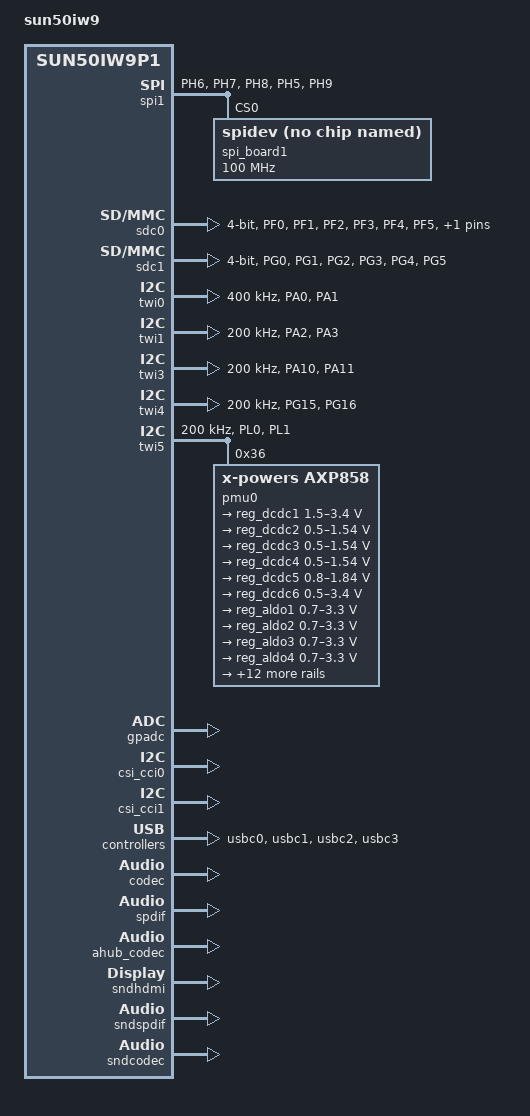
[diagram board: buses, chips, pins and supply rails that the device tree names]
/*
 * Allwinner Technology CO., Ltd. sun8iw19p1 soc board.
 *
 * soc board support.
 */

/dts-v1/;

#include "sun50iw9p1.dtsi"

/{
	model = "sun50iw9";
	compatible = "allwinner,t507", "arm,sun50iw9p1";

	soc@03000000{

		r_pio: pinctrl@07022000 {

			s_twi0_pins_a: s_twi0@0 {
				allwinner,pins = "PL0", "PL1";
				allwinner,pname = "s_twi0_scl", "s_twi0_sda";
				allwinner,function = "s_twi0";
				allwinner,muxsel = <3>;
				allwinner,drive = <0>;
				allwinner,pull = <1>;
			};

			s_twi0_pins_b: s_twi0@1 {
				allwinner,pins = "PL0", "PL1";
				allwinner,function = "io_disabled";
				allwinner,muxsel = <7>;
				allwinner,drive = <0>;
				allwinner,pull = <0>;
			};
		};

		pio: pinctrl@0300b000 {

			spi1_pins_a: spi1@0 {
				allwinner,pins = "PH6", "PH7", "PH8";
				allwinner,pname = "spi1_sclk", "spi1_mosi", "spi1_miso";
				allwinner,function = "spi1";
			};

			spi1_pins_b: spi1@1 {
				allwinner,pins = "PH5", "PH9";
				allwinner,pname = "spi1_cs0", "spi1_cs1";
				allwinner,function = "spi1";
			};

			spi1_pins_c: spi1@2 {
				allwinner,pins = "PH5", "PH6", "PH7", "PH8", "PH9";
				allwinner,function = "io_disabled";
			};

			twi0_pins_a: twi0@0 {
				allwinner,pins = "PA0", "PA1";
				allwinner,pname = "twi0_scl", "twi0_sda";
				allwinner,function = "twi0";
				allwinner,muxsel = <4>;
				allwinner,drive = <0>;
				allwinner,pull = <0>;
			};

			twi0_pins_b: twi0@1 {
				allwinner,pins = "PA0", "PA1";
				allwinner,function = "io_disabled";
				allwinner,muxsel = <7>;
				allwinner,drive = <0>;
				allwinner,pull = <0>;
			};

			twi1_pins_a: twi1@0 {
				allwinner,pins = "PA2", "PA3";
				allwinner,pname = "twi1_scl", "twi1_sda";
				allwinner,function = "twi1";
				allwinner,muxsel = <4>;
				allwinner,drive = <0>;
				allwinner,pull = <0>;
			};

			twi1_pins_b: twi1@1 {
				allwinner,pins = "PA2", "PA3";
				allwinner,function = "io_disabled";
				allwinner,muxsel = <7>;
				allwinner,drive = <0>;
				allwinner,pull = <0>;
			};

			twi2_pins_a: twi2@0 {
				allwinner,pins = "PH2", "PH3";
				allwinner,pname = "twi2_scl", "twi2_sda";
				allwinner,function = "twi2";
				allwinner,muxsel = <5>;
				allwinner,drive = <0>;
				allwinner,pull = <0>;
			};

			twi2_pins_b: twi2@1 {
				allwinner,pins = "PH2", "PH3";
				allwinner,function = "io_disabled";
				allwinner,muxsel = <7>;
				allwinner,drive = <0>;
				allwinner,pull = <0>;
			};

			twi3_pins_a: twi3@0 {
				allwinner,pins = "PA10", "PA11";
				allwinner,pname = "twi3_scl", "twi3_sda";
				allwinner,function = "twi3";
				allwinner,muxsel = <2>;
				allwinner,drive = <0>;
				allwinner,pull = <0>;
			};

			twi3_pins_b: twi3@1 {
				allwinner,pins = "PA10", "PA11";
				allwinner,function = "io_disabled";
				allwinner,muxsel = <7>;
				allwinner,drive = <0>;
				allwinner,pull = <0>;
			};

			twi4_pins_a: twi4@0 {
				allwinner,pins = "PG15", "PG16";
				allwinner,pname = "twi4_scl", "twi4_sda";
				allwinner,function = "twi4";
				allwinner,muxsel = <5>;
				allwinner,drive = <0>;
				allwinner,pull = <0>;
			};

			twi4_pins_b: twi4@1 {
				allwinner,pins = "PG15", "PG16";
				allwinner,function = "io_disabled";
				allwinner,muxsel = <7>;
				allwinner,drive = <0>;
				allwinner,pull = <0>;
			};

			scr0_pins_a: scr0@0 {
				allwinner,pins = "PD17", "PD18", "PD14", "PD15", "PD16";
				allwinner,pname = "scr0_rst", "scr0_det", "scr0_vccen", "scr0_sck", "scr0_sda";
			};

			sdc0_pins_a: sdc0@0 {
				allwinner,pins = "PF0", "PF1", "PF2",
						 "PF3", "PF4", "PF5";
				allwinner,function = "sdc0";
				allwinner,muxsel = <2>;
				allwinner,drive = <3>;
				allwinner,pull = <1>;
			};

			sdc0_pins_c: sdc0@2 {
				allwinner,pins = "PF0", "PF1",
						 "PF3", "PF5";
				allwinner,function = "uart0_jtag";
				allwinner,muxsel = <3>;
				allwinner,drive = <1>;
				allwinner,pull = <1>;
			};

			sdc1_pins_a: sdc1@0 {
				allwinner,pins = "PG0", "PG1", "PG2",
						 "PG3", "PG4", "PG5";
				allwinner,function = "sdc1";
				allwinner,muxsel = <2>;
				allwinner,drive = <3>;
				allwinner,pull = <1>;
			};

			sdc2_pins_a: sdc2@0 {
				allwinner,pins = "PC1", "PC5", "PC6",
						 "PC8", "PC9", "PC10", "PC11",
						 "PC13", "PC14", "PC15", "PC16";
				allwinner,function = "sdc2";
				allwinner,muxsel = <3>;
				allwinner,drive = <2>;
				allwinner,pull = <1>;
			};

			sdc2_pins_b: sdc2@1 {
				allwinner,pins = "PC0", "PC1", "PC5", "PC6",
						 "PC8", "PC9", "PC10", "PC11",
						 "PC13", "PC14", "PC15", "PC16";
				allwinner,function = "io_disabled";
				allwinner,muxsel = <7>;
				allwinner,drive = <1>;
				allwinner,pull = <1>;
			};

			sdc2_pins_c: sdc2@2 {
				allwinner,pins = "PC0";
				allwinner,function = "sdc2";
				allwinner,muxsel = <3>;
				allwinner,drive = <2>;
				allwinner,pull = <2>;
			};
		};

		spi1: spi@05011000 {
			pinctrl-0 = <&spi1_pins_a &spi1_pins_b>;
			pinctrl-1 = <&spi1_pins_c>;
			spi_slave_mode = <0>;
			status = "okay";
			spi_board1 {
				device_type = "spi_board1";
				compatible = "rohm,dh2228fv";
				spi-max-frequency = <0x5f5e100>;
				reg = <0x0>;
				spi-rx-bus-width = <0x1>;
				spi-tx-bus-width = <0x1>;
			};
		};

		sdc2: sdmmc@04022000 {
			pinctrl-0 = <&sdc2_pins_a &sdc2_pins_c>;
			non-removable;
			bus-width = <8>;
			mmc-ddr-1_8v;
			/*mmc-hs200-1_8v;*/
			/*mmc-hs400-1_8v;*/
			no-sdio;
			no-sd;
			cap-mmc-highspeed;
			sunxi-power-save-mode;
			sunxi-dis-signal-vol-sw;
			max-frequency = <50000000>;
			/*max-frequency = <100000000>;*/
			status = "disabled";
		};

		sdc0: sdmmc@04020000 {
			pinctrl-0 = <&sdc0_pins_a>;
			bus-width = <4>;
			cd-gpios = <&pio PF 6 6 1 3 0xffffffff>;
			/*non-removable;*/
			/*broken-cd;*/
			/*cd-inverted*/
			/*data3-detect;*/
			cap-sd-highspeed;
			/*sd-uhs-sdr50;*/
			/*sd-uhs-ddr50;*/
			/*sd-uhs-sdr104;*/
			no-sdio;
			no-mmc;
			sunxi-power-save-mode;
			/*sunxi-dis-signal-vol-sw;*/
			max-frequency = <50000000>;
			ctl-spec-caps = <0x8>;
			status = "okay";
		};

		sdc1: sdmmc@04021000 {
			pinctrl-0 = <&sdc1_pins_a>;
			bus-width = <4>;
			no-mmc;
			no-sd;
			cap-sd-highspeed;
			/*sd-uhs-sdr12*/
			/*sd-uhs-sdr25*/
			/*sd-uhs-sdr50*/
			/*sd-uhs-ddr50;*/
			/*sd-uhs-sdr104*/
			/*sunxi-power-save-mode;*/
			/*sunxi-dis-signal-vol-sw;*/
			cap-sdio-irq;
			keep-power-in-suspend;
			ignore-pm-notify;
			max-frequency = <50000000>;
			ctl-spec-caps = <0x8>;
			status = "okay";
		};

		twi0: twi@0x05002000{
			clock-frequency = <400000>;
			pinctrl-0 = <&twi0_pins_a>;
			pinctrl-1 = <&twi0_pins_b>;
			status = "okay";
		};

		twi1: twi@0x05002400{
			clock-frequency = <200000>;
			pinctrl-0 = <&twi1_pins_a>;
			pinctrl-1 = <&twi1_pins_b>;
			status = "okay";
		};

		twi2: twi@0x05002800{
			clock-frequency = <200000>;
			pinctrl-0 = <&twi2_pins_a>;
			pinctrl-1 = <&twi2_pins_b>;
			status = "disabled";
		};

		twi3: twi@0x05002c00{
			clock-frequency = <200000>;
			pinctrl-0 = <&twi3_pins_a>;
			pinctrl-1 = <&twi3_pins_b>;
			status = "okay";
		};

		twi4: twi@0x05003000{
			clock-frequency = <200000>;
			pinctrl-0 = <&twi4_pins_a>;
			pinctrl-1 = <&twi4_pins_b>;
			status = "okay";
		};

		twi5: twi@0x07081400{
			clock-frequency = <200000>;
			pinctrl-0 = <&s_twi0_pins_a>;
			pinctrl-1 = <&s_twi0_pins_b>;
			status = "okay";
		};

		/*----------------------------------------------------------------------------------
		*resistance gpadc configuration
		*channel_num:   Maxinum number of channels supported on the platform.
		*channel_select:   channel enable setection. channel0:0x01  channel1:0x02 channel2:0x04 channel3:0x08
		*channel_data_select:  channel data enable.  channel0:0x01  channel1:0x02 channel2:0x04 channel3:0x08.
		*channel_compare_select:   compare function enable channel0:0x01  channel1:0x02 channel2:0x04 channel3:0x08.
		*channel_cld_select:  compare function low data enable setection: channel0:0x01  channel1:0x02 channel2:0x04 channel3:0x08.
		*channel_chd_select:  compare function hig data enable setection: channel0:0x01  channel1:0x02 channel2:0x04 channel3:0x08.
		*----------------------------------------------------------------------------------*/
		gpadc:gpadc{
			channel_num = <1>;
			channel_select = <0x01>;
			channel_data_select = <0>;
			channel_compare_select = <0x01>;
			channel_cld_select = <0x01>;
			channel_chd_select = <0>;
			channel0_compare_lowdata = <1700000>;
			channel0_compare_higdata = <1200000>;
			key_cnt = <5>;
			key0_vol = <115>;
			key0_val = <115>;
			key1_vol = <240>;
			key1_val = <114>;
			key2_vol = <360>;
			key2_val = <139>;
			key3_vol = <480>;
			key3_val = <28>;
			key4_vol = <600>;
			key4_val = <102>;
			status = "okay";
		};

		vind0:vind@0 {
			vind0_clk = <324000000>;
			status = "okay";

			csi_cci0:cci@0 {
				status = "okay";
			};
			csi_cci1:cci@1 {
				status = "okay";
			};
			actuator0:actuator@0 {
				device_type = "actuator0";
				actuator0_name = "ad5820_act";
				actuator0_slave = <0x18>;
				actuator0_af_pwdn = <>;
				actuator0_afvdd = "afvcc-csi";
				actuator0_afvdd_vol = <2800000>;
				status = "disabled";
			};
			flash0:flash@0 {
				device_type = "flash0";
				flash0_type = <2>;
				flash0_en = <>;
				flash0_mode = <>;
				flash0_flvdd = "";
				flash0_flvdd_vol = <>;
				device_id = <0>;
				status = "disabled";
			};
			sensor0:sensor@0 {
				device_type = "sensor0";
				sensor0_mname = "nvp6324_mipi";
				sensor0_twi_cci_id = <0>;
				sensor0_twi_addr = <0x60>;
				sensor0_mclk_id = <0>;
				sensor0_pos = "rear";
				sensor0_isp_used = <0>;
				sensor0_fmt = <0>;
				sensor0_stby_mode = <0>;
				sensor0_vflip = <0>;
				sensor0_hflip = <0>;
				sensor0_iovdd-supply = <>;
				sensor0_iovdd_vol = <1800000>;
				sensor0_avdd-supply = <>;
				sensor0_avdd_vol = <2800000>;
				sensor0_dvdd-supply = <>;
				sensor0_dvdd_vol = <1200000>;
				sensor0_power_en = <>;
				sensor0_reset = <&pio PH 2 1 0 1 0>;
				sensor0_pwdn = <&pio PH 3 1 0 1 0>;
				sensor0_sm_vs = <&pio PE 22 1 0 1 0>;
				status	= "okay";
			};
			sensor1:sensor@1 {
				device_type = "sensor1";
				sensor1_mname = "ov5640";
				sensor1_twi_cci_id = <1>;
				sensor1_twi_addr = <0x78>;
				sensor1_mclk_id = <1>;
				sensor1_pos = "front";
				sensor1_isp_used = <0>;
				sensor1_fmt = <0>;
				sensor1_stby_mode = <0>;
				sensor1_vflip = <0>;
				sensor1_hflip = <0>;
				sensor1_iovdd-supply = <>;
				sensor1_iovdd_vol = <2800000>;
				sensor1_avdd-supply = <>;
				sensor1_avdd_vol = <2800000>;
				sensor1_dvdd-supply = <>;
				sensor1_dvdd_vol = <1200000>;
				sensor1_power_en = <>;
				sensor1_reset = <&pio PA 2 1 0 1 0>;
				sensor1_pwdn = <&pio PA 3 1 0 1 0>;
				sensor1_sm_vs = <>;
				status	= "okay";
			};
			vinc0:vinc@0 {
				vinc0_csi_sel = <0>;
				vinc0_mipi_sel = <0>;
				vinc0_isp_sel = <0>;
				vinc0_isp_tx_ch = <0>;
				vinc0_rear_sensor_sel = <0>;
				vinc0_front_sensor_sel = <0>;
				vinc0_sensor_list = <0>;
				status = "okay";
			};
			vinc1:vinc@1 {
				vinc1_csi_sel = <0>;
				vinc1_mipi_sel = <0>;
				vinc1_isp_sel = <0>;
				vinc1_isp_tx_ch = <1>;
				vinc1_rear_sensor_sel = <0>;
				vinc1_front_sensor_sel = <0>;
				vinc1_sensor_list = <0>;
				status = "okay";
			};
			vinc2:vinc@2 {
				vinc2_csi_sel = <0>;
				vinc2_mipi_sel = <0>;
				vinc2_isp_sel = <0>;
				vinc2_isp_tx_ch = <2>;
				vinc2_rear_sensor_sel = <0>;
				vinc2_front_sensor_sel = <0>;
				vinc2_sensor_list = <0>;
				status = "okay";
			};
			vinc3:vinc@3 {
				vinc3_csi_sel = <0>;
				vinc3_mipi_sel = <0>;
				vinc3_isp_sel = <0>;
				vinc3_isp_tx_ch = <3>;
				vinc3_rear_sensor_sel = <0>;
				vinc3_front_sensor_sel = <0>;
				vinc3_sensor_list = <0>;
				status = "okay";
			};
			vinc4:vinc@4 {
				vinc4_csi_sel = <1>;
				vinc4_mipi_sel = <0xff>;
				vinc4_isp_sel = <1>;
				vinc4_isp_tx_ch = <0>;
				vinc4_rear_sensor_sel = <1>;
				vinc4_front_sensor_sel = <1>;
				vinc4_sensor_list = <0>;
				status = "okay";
			};
			vinc5:vinc@5 {
				vinc5_csi_sel = <1>;
				vinc5_mipi_sel = <0xff>;
				vinc5_isp_sel = <1>;
				vinc5_isp_tx_ch = <0>;
				vinc5_rear_sensor_sel = <1>;
				vinc5_front_sensor_sel = <1>;
				vinc5_sensor_list = <0>;
				status = "okay";
			};
		};

		usbc0:usbc0@0 {
			device_type		= "usbc0";
			usb_port_type		= <0x2>;
			usb_detect_type		= <0x1>;
			usb_detect_mode		= <0x0>;
			usb_id_gpio		= <&pio PH 6 0 1 0xffffffff 0xffffffff>;
			usb_det_vbus_gpio	= <&pio PH 7 0 1 0xffffffff 0xffffffff>;
			usb_drv_vbus_gpio;
			usb_host_init_state	= <0x1>;
			usb_regulator_io	= "nocare";
			usb_wakeup_suspend	= <0x0>;
			usb_luns		= <0x3>;
			usb_serial_unique	= <0x0>;
			usb_serial_number	= "20080411";
			status			= "okay";
		};

		usbc1:usbc1@0 {
			device_type		= "usbc1";
			usb_drv_vbus_gpio	= <&pio PH 8 0 1 0xffffffff 0xffffffff>;
			usb_host_init_state	= <0x1>;
			usb_regulator_io	= "nocare";
			usb_wakeup_suspend	= <0x0>;
			status			= "okay";
		};

		usbc2:usbc2@0 {
			device_type		= "usbc2";
			usb_drv_vbus_gpio;
			usb_host_init_state	= <0x1>;
			usb_regulator_io	= "nocare";
			usb_wakeup_suspend	= <0x0>;
			status			= "okay";
		};

		usbc3:usbc3@0 {
			device_type		= "usbc3";
			usb_drv_vbus_gpio;
			usb_host_init_state	= <0x1>;
			usb_regulator_io	= "nocare";
			usb_wakeup_suspend	= <0x0>;
			status			= "okay";
		};

		/* audio dirver module */
		codec:codec@0x05096000 {
			adcdrc_cfg  = <0x00>;
			adchpf_cfg  = <0x00>;
			dacdrc_cfg  = <0x00>;
			dachpf_cfg  = <0x00>;
			fmin_gain   = <0x03>;
			linein_gain = <0x03>;
			digital_vol = <0x00>;
			lineout_vol = <0x1a>;
			/* gpio-spk */
			/*gpio-spk = <&pio PH 0 1 1 1 1>;*/
			pa_ctl_level   = <0x01>;
			pa_msleep_time = <0xA0>;
			avcc-supply = <&reg_aldo2>;
			status = "okay";
		};

		spdif:spdif-controller@0x05093000{
			status = "okay";
		};

		dmic:dmic-controller@0x05095000{
			status = "disabled";
		};

		ahub_codec:ahub_codec@0x05097000{
			status = "okay";
		};

		ahub_daudio0:ahub_daudio0@0x05097000{
			pinconfig 		= <0x01>;
			frametype 		= <0x00>;
			pcm_lrck_period		= <0x20>;
			slot_width_select	= <0x20>;
			daudio_master		= <0x04>;
			audio_format  		= <0x01>;
			signal_inversion 	= <0x01>;
			tdm_config		= <0x01>;
			mclk_div 		= <0x00>;
			status = "okay";
		};

		ahub_daudio1:ahub_daudio1@0x05097000{
			pinconfig 		= <0x00>;
			frametype 		= <0x00>;
			pcm_lrck_period 	= <0x20>;
			slot_width_select 	= <0x20>;
			daudio_master 		= <0x04>;
			audio_format 		= <0x01>;
			signal_inversion 	= <0x01>;
			tdm_config 		= <0x01>;
			mclk_div 		= <0x01>;
			status = "okay";
		};

		ahub_daudio2:ahub_daudio2@0x05097000{
			pinconfig 		= <0x01>;
			frametype 		= <0x00>;
			pcm_lrck_period 	= <0x20>;
			slot_width_select 	= <0x20>;
			daudio_master 		= <0x04>;
			audio_format 		= <0x01>;
			signal_inversion 	= <0x01>;
			tdm_config 		= <0x01>;
			mclk_div 		= <0x04>;
			status = "disabled";
		};

		ahub_daudio3:ahub_daudio3@0x05097000{
			pinconfig 		= <0x01>;
			frametype 		= <0x00>;
			pcm_lrck_period 	= <0x20>;
			slot_width_select 	= <0x20>;
			daudio_master 		= <0x04>;
			audio_format 		= <0x01>;
			signal_inversion 	= <0x01>;
			tdm_config 		= <0x01>;
			mclk_div 		= <0x04>;
			status = "disabled";
		};

		snddaudio0:sound@0{
			status = "okay";
		};

		sndhdmi:sound@1{
			status = "okay";
		};

		snddaudio2:sound@2{
			status = "disabled";
		};

		snddaudio3:sound@3{
			/* acx00-codec throught mfd_add_devices */
			/*
			sunxi,snddaudio-codec = "acx00-codec";
			sunxi,snddaudio-codec-dai = "acx00-dai";
			*/
			status = "disabled";
		};

		sndspdif:sound@4{
			status = "okay";
		};

		snddmic:sound@5{
			status = "disabled";
		};

		sndcodec:sound@6{
			status = "okay";
		};

		sndahub:sound@7{
			status = "okay";
		};

		scr0:smartcard@0x05005000{
			interrupts = <GIC_SPI 62 IRQ_TYPE_LEVEL_HIGH>;
			status = "disable";
		};
		/*----------------------------------------------------------------------------------
		disp init configuration

		disp_mode             (0:screen0<screen0,fb0>)
		screenx_output_type   (0:none; 1:lcd; 2:tv; 3:hdmi;5:vdpo)
		screenx_output_mode   (used for hdmi output, 0:480i 1:576i 2:480p 3:576p 4:720p50)
		(5:720p60 6:1080i50 7:1080i60 8:1080p24 9:1080p50 10:1080p60)
		screenx_output_format (for hdmi, 0:RGB 1:yuv444 2:yuv422 3:yuv420)
		screenx_output_bits   (for hdmi, 0:8bit 1:10bit 2:12bit 2:16bit)
		screenx_output_eotf   (for hdmi, 0:reserve 4:SDR 16:HDR10 18:HLG)
		screenx_output_cs     (for hdmi, 0:undefined  257:BT709 260:BT601  263:BT2020)
		screenx_output_dvi_hdmi (for hdmi, 0:undefined 1:dvi mode 2:hdmi mode)
		screen0_output_range   (for hdmi, 0:default 1:full 2:limited)
		screen0_output_scan    (for hdmi, 0:no data 1:overscan 2:underscan)
		screen0_output_aspect_ratio  (for hdmi, 8-same as original picture 9-4:3 10-16:9 11-14:9)
		fbx format            (4:RGB655 5:RGB565 6:RGB556 7:ARGB1555 8:RGBA5551 9:RGB888 10:ARGB8888 12:ARGB4444)
		fbx pixel sequence    (0:ARGB 1:BGRA 2:ABGR 3:RGBA)
		fb0_scaler_mode_enable(scaler mode enable, used FE)
		fbx_width,fbx_height  (framebuffer horizontal/vertical pixels, fix to output resolution while equal 0)
		lcdx_backlight        (lcd init backlight,the range:[0,256],default:197
		lcdx_yy               (lcd init screen bright/contrast/saturation/hue, value:0~100, default:50/50/57/50)
		lcd0_contrast         (LCD contrast, 0~100)
		lcd0_saturation       (LCD saturation, 0~100)
		lcd0_hue              (LCD hue, 0~100)
		framebuffer software rotation setting:
		disp_rotation_used:   (0:disable; 1:enable,you must set fbX_width to lcd_y,
		set fbX_height to lcd_x)
		degreeX:              (X:screen index; 0:0 degree; 1:90 degree; 3:270 degree)
		degreeX_Y:            (X:screen index; Y:layer index 0~15; 0:0 degree; 1:90 degree; 3:270 degree)
		devX_output_type : config output type in bootGUI framework in UBOOT-2018. 
		(0:none; 1:lcd; 2:tv; 4:hdmi;)
		devX_output_mode : config output resolution(see include/video/sunxi_display2.h) of bootGUI framework in UBOOT-2018
		devX_screen_id   : config display index of bootGUI framework in UBOOT-2018
		devX_do_hpd      : whether do hpd detectation or not in UBOOT-2018
		chn_cfg_mode     : Hardware DE channel allocation config. 0:single display with 6
		channel, 1:dual display with 4 channel in main display and 2 channel in second
		display, 2:dual display with 3 channel in main display and 3 channel in second
		in display.
		----------------------------------------------------------------------------------*/
		disp: disp@01000000 {
			disp_init_enable         = <1>;
			disp_mode                = <0>;

			screen0_output_type      = <1>;
			screen0_output_mode      = <4>;

			screen1_output_type      = <3>;
			screen1_output_mode      = <10>;

			screen1_output_format    = <0>;
			screen1_output_bits      = <0>;
			screen1_output_eotf      = <4>;
			screen1_output_cs        = <257>;
			screen1_output_dvi_hdmi  = <2>;
			screen1_output_range     = <2>;
			screen1_output_scan      = <0>;
			screen1_output_aspect_ratio = <8>;

			dev0_output_type         = <1>;
			dev0_output_mode         = <4>;
			dev0_screen_id           = <0>;
			dev0_do_hpd              = <0>;

			dev1_output_type         = <4>;
			dev1_output_mode         = <10>;
			dev1_screen_id           = <1>;
			dev1_do_hpd              = <1>;

			def_output_dev           = <0>;
			hdmi_mode_check          = <1>;

			fb0_format               = <0>;
			fb0_width                = <1280>;
			fb0_height               = <800>;

			fb1_format               = <0>;
			fb1_width                = <0>;
			fb1_height               = <0>;
			chn_cfg_mode             = <1>;

			disp_para_zone           = <1>;
			/* VCC-LCD */
			dc1sw-supply = <&reg_sw>;
			/* VCC-LVDS and VCC-HDMI */
			bldo1-supply = <&reg_bldo1>;
			/* VCC-TV */
			cldo4-supply = <&reg_cldo4>;
		};

		hdmi: hdmi@06000000 {
			hdmi_used = <1>;

			bldo1-supply = <&reg_bldo1>;
			hdmi_power_cnt = <1>;
			hdmi_power0 = "bldo1";

			hdmi_hdcp_enable = <1>;
			hdmi_hdcp22_enable = <1>;

			hdmi_cec_support = <1>;
			hdmi_cec_super_standby = <0>;

			ddc_en_io_ctrl = <0>;
			power_io_ctrl = <0>;
		};

		/*----------------------------------------------------------------------------------
		;lcd0 configuration

		;lcd_if:               0:hv(sync+de); 1:8080; 2:ttl; 3:lvds; 4:dsi; 5:edp; 6:extend dsi
		;lcd_hv_if             0:Parallel RGB; 8:Serial RGB; 10:Dummy RGB; 11: RGB Dummy;12:CCIR656
		;lcd_hv_clk_phase      0:0 degree;1:90 degree;2:180 degree;3:270 degree
		;lcd_hv_sync_polarity  0:vs low,hs low; 1:vs high,hslow; 2:vs low,hs high; 3:vs high,hs high
		;lcd_hv_syuv_seq       0:YUYV; 1:YVYU; 2:UYVY; 3:VYUY
		;lcd_cpu_if            0:18bit/1 cycle parallel(RGB666); 4:16bit/1cycle parallel (RGB565)
		;                      6:18bit/3 cycle parallel(RGB666); 7:16bit/2cycle parallel (RGB565)
		;lcd_cpu_te            0:frame auto trigger; 1:frame triggered by te rising edge; 2:frame triggered by te falling edge;
		;lcd_dsi_if            0:video mode; 1: Command mode; 2:video burst mode
		;lcd_dsi_te            0:frame auto trigger; 1:frame triggered by te rising edge; 2:frame triggered by te falling edge;
		;lcd_x:                lcd horizontal resolution
		;lcd_y:                lcd vertical resolution
		;lcd_width:            width of lcd in mm
		;lcd_height:           height of lcd in mm
		;lcd_dclk_freq:        in MHZ unit
		;lcd_pwm_freq:         in HZ unit
		;lcd_pwm_pol:          lcd backlight PWM polarity
		;lcd_pwm_max_limit     lcd backlight PWM max limit(<=255)
		;lcd_hbp:              hsync back porch(pixel) + hsync plus width(pixel);
		;lcd_ht:               hsync total cycle(pixel)
		;lcd_vbp:              vsync back porch(line) + vysnc plus width(line)
		;lcd_vt:               vysnc total cycle(line)
		;lcd_hspw:             hsync plus width(pixel)
		;lcd_vspw:             vysnc plus width(pixel)
		;lcd_lvds_if:          0:single link;  1:dual link
		;lcd_lvds_colordepth:  0:8bit; 1:6bit
		;lcd_lvds_mode:        0:NS mode; 1:JEIDA mode
		;lcd_frm:              0:disable; 1:enable rgb666 dither; 2:enable rgb656 dither
		;lcd_io_phase:         0:noraml; 1:intert phase(0~3bit: vsync phase; 4~7bit:hsync phase;
		;                      8~11bit:dclk phase; 12~15bit:de phase)
		;lcd_gamma_en          lcd gamma correction enable
		;lcd_bright_curve_en   lcd bright curve correction enable
		;lcd_cmap_en           lcd color map function enable
		;deu_mode              0:smoll lcd screen; 1:large lcd screen(larger than 10inch)
		;lcdgamma4iep:         Smart Backlight parameter, lcd gamma vale * 10;
		;                      decrease it while lcd is not bright enough; increase while lcd is too bright
		;smart_color           90:normal lcd screen 65:retina lcd screen(9.7inch)
		;Pin setting for special function ie.LVDS, RGB data or vsync
		;   name(donot care) = port:PD12<pin function><pull up or pull down><drive ability><output level>
		;Pin setting for gpio:
		;   lcd_gpio_X     = port:PD12<pin function><pull up or pull down><drive ability><output level>
		;Pin setting for backlight enable pin
		;   lcd_bl_en     = port:PD12<pin function><pull up or pull down><drive ability><output level>
		;fsync setting, pulse to csi
		;lcd_fsync_en          (0:disable fsync,1:enable)
		;lcd_fsync_act_time    (active time of fsync, unit:pixel)
		;lcd_fsync_dis_time    (disactive time of fsync, unit:pixel)
		;lcd_fsync_pol         (0:positive;1:negative)
		;gpio config: <&pio for cpu or &r_pio for cpus, port, port num, pio function,
		pull up or pull down(default 0), driver level(default 1), data>
		;For dual link lvds: use lvds2link_pins_a  and lvds2link_pins_b instead
		;For rgb24: use rgb24_pins_a  and rgb24_pins_b instead
		;For lvds1: use lvds1_pins_a  and lvds1_pins_b instead
		;For lvds0: use lvds0_pins_a  and lvds0_pins_b instead
		;----------------------------------------------------------------------------------*/
		lcd0: lcd0@01c0c000 {
			lcd_used            = <1>;

			lcd_driver_name     = "bp101wx1";
			lcd_backlight       = <50>;
			lcd_if              = <3>;

			lcd_x               = <1280>;
			lcd_y               = <800>;
			lcd_width           = <150>;
			lcd_height          = <94>;
			lcd_dclk_freq       = <70>;

			lcd_pwm_used        = <1>;
			lcd_pwm_ch          = <0>;
			lcd_pwm_freq        = <50000>;
			lcd_pwm_pol         = <1>;
			lcd_pwm_max_limit   = <255>;


			lcd_hbp             = <20>;
			lcd_ht              = <1418>;
			lcd_hspw            = <10>;
			lcd_vbp             = <10>;
			lcd_vt              = <814>;
			lcd_vspw            = <5>;

			lcd_lvds_if         = <0>;
			lcd_lvds_colordepth = <0>;
			lcd_lvds_mode       = <0>;
			lcd_frm             = <0>;
			lcd_hv_clk_phase    = <0>;
			lcd_hv_sync_polarity= <0>;
			lcd_gamma_en        = <0>;
			lcd_bright_curve_en = <0>;
			lcd_cmap_en         = <0>;
			lcd_fsync_en        = <0>;
			lcd_fsync_act_time  = <1000>;
			lcd_fsync_dis_time  = <1000>;
			lcd_fsync_pol       = <0>;

			deu_mode            = <0>;
			lcdgamma4iep        = <22>;
			smart_color         = <90>;

			lcd_pin_power = "bldo1";

			lcd_power = "dc1sw";
			lcd_bl_en        = <&pio PD 27 1 0 3 1>;
			pinctrl-0 = <&lvds0_pins_a>;
			pinctrl-1 = <&lvds0_pins_b>;


		};

		/*----------------------------------------------------------------------------------
		;tv configuration
		;dac_src            (dac no,support dac_src0~dac_src3,dac num max is 4)
		;interface          (interface type,1<->cvbs,2<->YPBPR,4<->SVIDEO)
		;dac_type           (0<->composite,1<->luma,2<->chroma,3<->reserved,4<->y/green,
		;                    5<->u/pb/blue,6<->v/pr/red)
		;NOTE:              tv0,tv1 can not use the same dac_src.
		;---------------------------------------------------------------------------------*/

		tv0: tv0@01c94000 {
			status =  "okay";

			dac_src0        = <0>;
			dac_type0       = <0>;

			interface       = <1>;
			tv_power = "cldo4";
		};
	};
};

&aliases {
	pmu0 = &pmu0;
	regulator0 = &regulator0;
};

&cpu_trips{
	cpu_crit: cpu_crit@0 {
		temperature = <120000>;
		type = "critical";
		hysteresis = <0>;
	};
};

&twi5 {
	no_suspend = <1>;
	status = "okay";

	pmu0: pmu@36{
		compatible = "x-powers,axp858";
		reg = <0x36>;
		interrupt-parent = <&nmi_intc>;
		interrupts = <0 IRQ_TYPE_LEVEL_LOW>;
		interrupt-controller;
		#interrupt-cells = <1>;

		wakeup-source;

		powerkey0: powerkey@0{
			status = "okay";
			compatible = "x-powers,axp2101-pek";
			pmu_powkey_off_time = <6000>;
			pmu_powkey_off_func = <0>;
			pmu_powkey_off_en = <1>;
			pmu_powkey_long_time = <1500>;
			pmu_powkey_on_time = <1000>;
			wakeup_rising;
			wakeup_falling;
		};

		regulator0: regulators{
			reg_dcdc1: dcdc1 {
				regulator-name = "axp858-dcdc1";
				regulator-min-microvolt = <1500000>;
				regulator-max-microvolt = <3400000>;
				regulator-step-delay-us = <25>;
				regulator-final-delay-us = <50>;
				regulator-always-on;
			};

			reg_dcdc2: dcdc2 {
				regulator-name = "axp858-dcdc2";
				regulator-min-microvolt = <500000>;
				regulator-max-microvolt = <1540000>;
				regulator-step-delay-us = <25>;
				regulator-final-delay-us = <50>;
				regulator-ramp-delay = <6001>; /* FIXME */
				regulator-always-on;
			};

			reg_dcdc3: dcdc3 {
				regulator-name = "axp858-dcdc3";
				regulator-min-microvolt = <500000>;
				regulator-max-microvolt = <1540000>;
				regulator-step-delay-us = <25>;
				regulator-final-delay-us = <50>;
				regulator-always-on;
			};

			reg_dcdc4: dcdc4 {
				regulator-name = "axp858-dcdc4";
				regulator-min-microvolt = <500000>;
				regulator-max-microvolt = <1540000>;
				regulator-step-delay-us = <25>;
				regulator-final-delay-us = <50>;
			};

			reg_dcdc5: dcdc5 {
				regulator-name = "axp858-dcdc5";
				regulator-min-microvolt = <800000>;
				regulator-max-microvolt = <1840000>;
				regulator-step-delay-us = <25>;
				regulator-final-delay-us = <50>;
				regulator-always-on;
			};

			reg_dcdc6: dcdc6 {
				regulator-name = "axp858-dcdc6";
				regulator-min-microvolt = <500000>;
				regulator-max-microvolt = <3400000>;
				regulator-step-delay-us = <25>;
				regulator-final-delay-us = <50>;
				regulator-always-on;
			};

			reg_aldo1: aldo1 {
				regulator-name = "axp858-aldo1";
				regulator-min-microvolt = <700000>;
				regulator-max-microvolt = <3300000>;
				regulator-step-delay-us = <25>;
				regulator-final-delay-us = <50>;
				regulator-always-on;
			};

			reg_aldo2: aldo2 {
				regulator-name = "axp858-aldo2";
				regulator-min-microvolt = <700000>;
				regulator-max-microvolt = <3300000>;
				regulator-step-delay-us = <25>;
				regulator-final-delay-us = <50>;
				regulator-always-on;
			};

			reg_aldo3: aldo3 {
				regulator-name = "axp858-aldo3";
				regulator-min-microvolt = <700000>;
				regulator-max-microvolt = <3300000>;
				regulator-step-delay-us = <25>;
				regulator-final-delay-us = <50>;
				regulator-always-on;
			};

			reg_aldo4: aldo4 {
				regulator-name = "axp858-aldo4";
				regulator-min-microvolt = <700000>;
				regulator-max-microvolt = <3300000>;
				regulator-step-delay-us = <25>;
				regulator-final-delay-us = <50>;
				regulator-always-on;
			};

			reg_aldo5: aldo5 {
				regulator-name = "axp858-aldo5";
				regulator-min-microvolt = <700000>;
				regulator-max-microvolt = <3300000>;
				regulator-step-delay-us = <25>;
				regulator-final-delay-us = <50>;
			};

			reg_bldo1: bldo1 {
				regulator-name = "axp858-bldo1";
				regulator-min-microvolt = <700000>;
				regulator-max-microvolt = <3300000>;
				regulator-step-delay-us = <25>;
				regulator-final-delay-us = <50>;
			};

			reg_bldo2: bldo2 {
				regulator-name = "axp858-bldo2";
				regulator-min-microvolt = <700000>;
				regulator-max-microvolt = <3300000>;
				regulator-step-delay-us = <25>;
				regulator-final-delay-us = <50>;
			};

			reg_bldo3: bldo3 {
				regulator-name = "axp858-bldo3";
				regulator-min-microvolt = <700000>;
				regulator-max-microvolt = <3300000>;
				regulator-step-delay-us = <25>;
				regulator-final-delay-us = <50>;
			};

			reg_bldo4: bldo4 {
				regulator-name = "axp858-bldo4";
				regulator-min-microvolt = <700000>;
				regulator-max-microvolt = <3300000>;
				regulator-step-delay-us = <25>;
				regulator-final-delay-us = <50>;
			};

			reg_bldo5: bldo5 {
				regulator-name = "axp858-bldo5";
				regulator-min-microvolt = <700000>;
				regulator-max-microvolt = <3300000>;
				regulator-step-delay-us = <25>;
				regulator-final-delay-us = <50>;
			};

			reg_cldo1: cldo1 {
				regulator-name = "axp858-cldo1";
				regulator-min-microvolt = <700000>;
				regulator-max-microvolt = <3300000>;
				regulator-step-delay-us = <25>;
				regulator-final-delay-us = <50>;
			};

			reg_cldo2: cldo2 {
				regulator-name = "axp858-cldo2";
				regulator-min-microvolt = <700000>;
				regulator-max-microvolt = <3300000>;
				regulator-step-delay-us = <25>;
				regulator-final-delay-us = <50>;
			};

			reg_cldo3: cldo3 {
				regulator-name = "axp858-cldo3";
				regulator-min-microvolt = <700000>;
				regulator-max-microvolt = <3300000>;
				regulator-step-delay-us = <25>;
				regulator-final-delay-us = <50>;
			};

			reg_cldo4: cldo4 {
				regulator-name = "axp858-cldo4";
				regulator-min-microvolt = <700000>;
				regulator-max-microvolt = <4200000>;
				regulator-step-delay-us = <25>;
				regulator-final-delay-us = <50>;
			};

			reg_cpusldo: cpusldo {
				regulator-name = "axp858-cpusldo";
				regulator-min-microvolt = <700000>;
				regulator-max-microvolt = <1400000>;
				regulator-step-delay-us = <25>;
				regulator-final-delay-us = <50>;
				regulator-always-on;
			};

			reg_sw: sw {
				regulator-name = "axp858-sw";
			};
		};

		virtual-dcdc1 {
			compatible = "xpower-vregulator,dcdc1";
			dcdc1-supply = <&reg_dcdc1>;
		};

		virtual-dcdc2 {
			compatible = "xpower-vregulator,dcdc2";
			dcdc2-supply = <&reg_dcdc2>;
		};

		virtual-dcdc3 {
			compatible = "xpower-vregulator,dcdc3";
			dcdc3-supply = <&reg_dcdc3>;
		};

		virtual-dcdc4 {
			compatible = "xpower-vregulator,dcdc4";
			dcdc4-supply = <&reg_dcdc4>;
		};

		virtual-dcdc5 {
			compatible = "xpower-vregulator,dcdc5";
			dcdc5-supply = <&reg_dcdc5>;
		};

		virtual-dcdc6 {
			compatible = "xpower-vregulator,dcdc6";
			dcdc6-supply = <&reg_dcdc6>;
		};

		virtual-aldo1 {
			compatible = "xpower-vregulator,aldo1";
			aldo1-supply = <&reg_aldo1>;
		};

		virtual-aldo2 {
			compatible = "xpower-vregulator,aldo2";
			aldo2-supply = <&reg_aldo2>;
		};

		virtual-aldo3 {
			compatible = "xpower-vregulator,aldo3";
			aldo3-supply = <&reg_aldo3>;
		};

		virtual-aldo4 {
			compatible = "xpower-vregulator,aldo4";
			aldo4-supply = <&reg_aldo4>;
		};

		virtual-aldo5 {
			compatible = "xpower-vregulator,aldo5";
			aldo5-supply = <&reg_aldo5>;
		};

		virtual-bldo1 {
			compatible = "xpower-vregulator,bldo1";
			bldo1-supply = <&reg_bldo1>;
		};

		virtual-bldo2 {
			compatible = "xpower-vregulator,bldo2";
			bldo2-supply = <&reg_bldo2>;
		};

		virtual-bldo3 {
			compatible = "xpower-vregulator,bldo3";
			bldo3-supply = <&reg_bldo3>;
		};

		virtual-bldo4 {
			compatible = "xpower-vregulator,bldo4";
			bldo4-supply = <&reg_bldo4>;
		};

		virtual-bldo5 {
			compatible = "xpower-vregulator,bldo5";
			bldo5-supply = <&reg_bldo5>;
		};

		virtual-cldo1 {
			compatible = "xpower-vregulator,cldo1";
			cldo1-supply = <&reg_cldo1>;
		};

		virtual-cldo2 {
			compatible = "xpower-vregulator,cldo2";
			cldo2-supply = <&reg_cldo2>;
		};

		virtual-cldo3 {
			compatible = "xpower-vregulator,cldo3";
			cldo3-supply = <&reg_cldo3>;
		};

		virtual-cldo4 {
			compatible = "xpower-vregulator,cldo4";
			cldo4-supply = <&reg_cldo4>;
		};

	};
};


